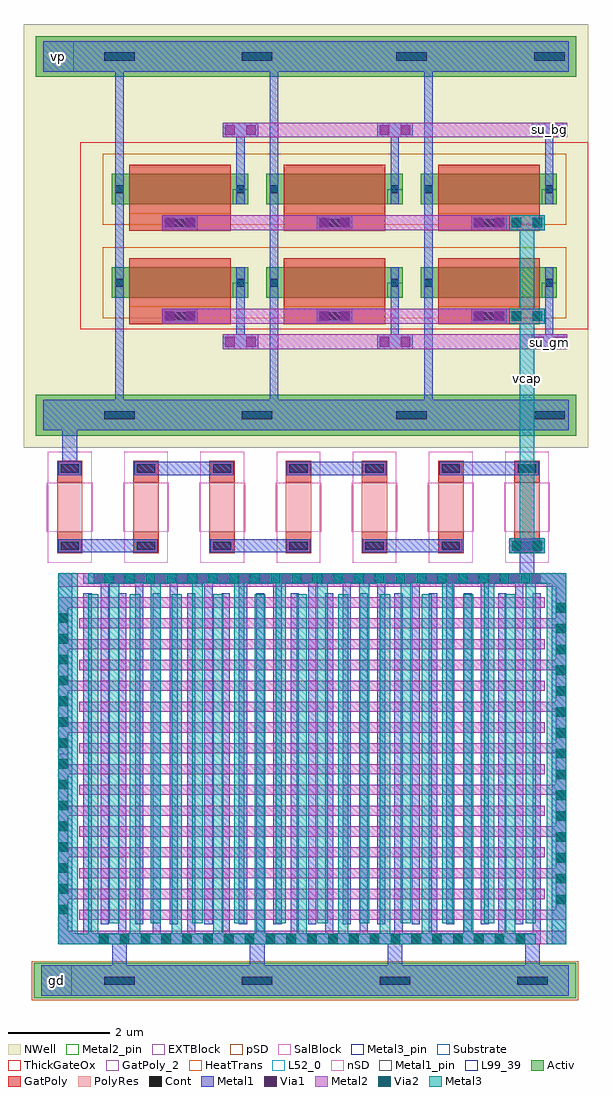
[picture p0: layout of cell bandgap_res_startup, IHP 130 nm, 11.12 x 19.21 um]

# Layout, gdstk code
import gdstk
lib = gdstk.Library(unit=1e-6, precision=1e-09)
def R(c, l, rs):  # rectangles x0, y0, x1, y1
    for r in rs: c.add(gdstk.rectangle(r[:2], r[2:], *l))
def A(c, l, x, y, w, h, nx, ny, dx, dy):  # array of equal rectangles
    R(c, l, [(x+i*dx, y+j*dy, x+i*dx+w, y+j*dy+h) for i in range(nx) for j in range(ny)])
Activ = (1, 0)
GatPoly = (5, 0)
GatPoly_2 = (5, 2)
Cont = (6, 0)
nSD = (7, 0)
Metal1 = (8, 0)
Metal1_pin = (8, 2)
Metal2 = (10, 0)
Metal2_pin = (10, 2)
pSD = (14, 0)
Via1 = (19, 0)
SalBlock = (28, 0)
Via2 = (29, 0)
Metal3 = (30, 0)
Metal3_pin = (30, 2)
NWell = (31, 0)
Substrate = (40, 0)
ThickGateOx = (44, 0)
HeatTrans = (51, 0)
L52_0 = (52, 0)
L99_39 = (99, 39)
EXTBlock = (111, 0)
PolyRes = (128, 0)

pmoshv_6 = lib.new_cell('pmosHV$6')
R(pmoshv_6, Activ, [(0,0,0.3,0.3), (0,0,2.68,0.6), (2.38,0,2.68,0.3)])
R(pmoshv_6, GatPoly, [(0.34,-0.18,2.34,0.78)])
R(pmoshv_6, GatPoly_2, [(0.34,-0.18,2.34,0.78)])
R(pmoshv_6, Cont, [(0.07,0.22,0.23,0.38), (2.45,0.22,2.61,0.38)])
R(pmoshv_6, Metal1, [(0.07,0,0.23,0.6), (2.45,0,2.61,0.6)])
R(pmoshv_6, Metal1_pin, [(0.07,0,0.23,0.6), (2.45,0,2.61,0.6)])
R(pmoshv_6, pSD, [(-0.18,-0.4,2.86,1)])
R(pmoshv_6, NWell, [(-0.62,-0.62,3.3,1.22)])
R(pmoshv_6, Substrate, [(2.38,0,2.68,0.3)])
R(pmoshv_6, ThickGateOx, [(-0.62,-0.62,3.3,1.22)])
R(pmoshv_6, HeatTrans, [(0.34,-0.18,2.34,0.78)])
pmoshv_6.add(gdstk.Label('pmosHV', (1.34,0.3), layer=63, texttype=0))
pmoshv_6.add(gdstk.Label('pmos', (1.34,0.3), layer=51, texttype=0))

via_stack_2 = lib.new_cell('via_stack$2')
R(via_stack_2, Metal2, [(-0.35,-0.145,0.35,0.145)])
R(via_stack_2, Via2, [(-0.3,-0.095,-0.11,0.095), (0.11,-0.095,0.3,0.095)])
R(via_stack_2, Metal3, [(-0.35,-0.145,0.35,0.145)])

via_stack = lib.new_cell('via_stack')
R(via_stack, Metal1, [(-0.35,-0.145,0.35,0.145)])
R(via_stack, Metal2, [(-0.35,-0.145,0.35,0.145)])
R(via_stack, Via1, [(-0.3,-0.095,-0.11,0.095), (0.11,-0.095,0.3,0.095)])

rhigh = lib.new_cell('rhigh')
A(rhigh, GatPoly, 0, -0.43, 0.5, 0.43, 7, 2, 1.5, 1.39)
A(rhigh, Cont, 0.07, -0.36, 0.36, 0.16, 7, 2, 1.5, 1.52)
A(rhigh, nSD, -0.18, -0.61, 0.86, 0.79, 7, 2, 1.5, 1.39)
R(rhigh, nSD, [(-0.18,0,0.68,0.96), (-0.18,0,0.68,0.96), (1.32,0,2.18,0.96), (1.32,0,2.18,0.96), (2.82,0,3.68,0.96), (2.82,0,3.68,0.96), (4.32,0,5.18,0.96), (4.32,0,5.18,0.96), (5.82,0,6.68,0.96), (5.82,0,6.68,0.96), (7.32,0,8.18,0.96), (7.32,0,8.18,0.96), (8.82,0,9.68,0.96), (8.82,0,9.68,0.96)])
A(rhigh, Metal1, 0.02, -0.41, 0.46, 0.26, 7, 2, 1.5, 1.52)
A(rhigh, Metal1, 1.52, -0.41, 1.96, 0.26, 3, 1, 3, 0)
A(rhigh, Metal1, 0.02, 1.11, 1.96, 0.26, 3, 1, 3, 0)
A(rhigh, Metal1_pin, 0.02, -0.41, 0.46, 0.26, 7, 2, 1.5, 1.52)
A(rhigh, pSD, -0.18, -0.61, 0.86, 0.79, 7, 2, 1.5, 1.39)
R(rhigh, pSD, [(-0.18,0,0.68,0.96), (-0.18,0,0.68,0.96), (1.32,0,2.18,0.96), (1.32,0,2.18,0.96), (2.82,0,3.68,0.96), (2.82,0,3.68,0.96), (4.32,0,5.18,0.96), (4.32,0,5.18,0.96), (5.82,0,6.68,0.96), (5.82,0,6.68,0.96), (7.32,0,8.18,0.96), (7.32,0,8.18,0.96), (8.82,0,9.68,0.96), (8.82,0,9.68,0.96)])
A(rhigh, SalBlock, -0.2, 0, 0.9, 0.96, 7, 1, 1.5, 0)
A(rhigh, L52_0, 0, 0, 0.5, 0.96, 7, 1, 1.5, 0)
A(rhigh, EXTBlock, -0.18, -0.61, 0.86, 0.79, 7, 2, 1.5, 1.39)
A(rhigh, EXTBlock, -0.2, 0, 0.9, 0.96, 7, 1, 1.5, 0)
A(rhigh, PolyRes, 0, 0, 0.5, 0.96, 7, 1, 1.5, 0)
rhigh.add(gdstk.Label('rhigh r=3158.261', (0.25,0.48), layer=63, texttype=0))
rhigh.add(gdstk.Label('rhigh r=3158.261', (0.25,0.48), layer=63, texttype=0))
rhigh.add(gdstk.Label('rhigh r=3158.261', (0.25,0.48), layer=63, texttype=0))
rhigh.add(gdstk.Label('rhigh r=3158.261', (0.25,0.48), layer=63, texttype=0))
rhigh.add(gdstk.Label('rhigh r=3158.261', (0.25,0.48), layer=63, texttype=0))
rhigh.add(gdstk.Label('rhigh r=3158.261', (0.25,0.48), layer=63, texttype=0))
rhigh.add(gdstk.Label('rhigh r=3158.261', (0.25,0.48), layer=63, texttype=0))
rhigh.add(gdstk.Label('rhigh', (0.25,0.48), layer=52, texttype=0))
rhigh.add(gdstk.Label('rhigh', (1.75,0.48), layer=52, texttype=0))
rhigh.add(gdstk.Label('rhigh', (3.25,0.48), layer=52, texttype=0))
rhigh.add(gdstk.Label('rhigh', (4.75,0.48), layer=52, texttype=0))
rhigh.add(gdstk.Label('rhigh', (6.25,0.48), layer=52, texttype=0))
rhigh.add(gdstk.Label('rhigh', (7.75,0.48), layer=52, texttype=0))
rhigh.add(gdstk.Label('rhigh', (9.25,0.48), layer=52, texttype=0))

via_stack_3 = lib.new_cell('via_stack$3')
R(via_stack_3, Metal1, [(-0.35,-0.145,0.35,0.145)])
R(via_stack_3, Metal2, [(-0.35,-0.145,0.35,0.145)])
R(via_stack_3, Via1, [(-0.3,-0.095,-0.11,0.095), (0.11,-0.095,0.3,0.095)])
R(via_stack_3, Via2, [(-0.3,-0.095,-0.11,0.095), (0.11,-0.095,0.3,0.095)])
R(via_stack_3, Metal3, [(-0.35,-0.145,0.35,0.145)])

cap_mfringe = lib.new_cell('cap_mfringe')
A(cap_mfringe, Metal1, 0.5, 0, 0.16, 6.91, 14, 1, 0.68, 0)
A(cap_mfringe, Metal1, 0.84, 0.39, 0.16, 6.91, 13, 1, 0.68, 0)
R(cap_mfringe, Metal1, [(0,0,0.28,7.3), (0,0,9.5,0.21), (9.72,0,10,7.3), (0.5,7.09,10,7.3)])
A(cap_mfringe, Metal2, 0.42, 0.475, 9.58, 0.2, 1, 8, 0, 0.82)
A(cap_mfringe, Metal2, 0, 0.885, 9.58, 0.2, 1, 8, 0, 0.82)
R(cap_mfringe, Metal2, [(0,0,10,0.265), (0,0,0.205,6.825), (9.795,0.475,10,7.3), (0,7.035,10,7.3)])
A(cap_mfringe, Via1, 0.805, 0.01, 0.19, 0.19, 21, 1, 0.41, 0)
A(cap_mfringe, Via1, 0.01, 0.585, 0.19, 0.19, 1, 15, 0, 0.41)
A(cap_mfringe, Via1, 9.8, 0.785, 0.19, 0.19, 1, 15, 0, 0.41)
A(cap_mfringe, Via1, 0.7, 7.1, 0.19, 0.19, 22, 1, 0.41, 0)
A(cap_mfringe, Via2, 0.805, 0.005, 0.19, 0.19, 21, 1, 0.41, 0)
A(cap_mfringe, Via2, 0.005, 0.585, 0.19, 0.19, 1, 15, 0, 0.41)
A(cap_mfringe, Via2, 9.805, 0.785, 0.19, 0.19, 1, 15, 0, 0.41)
A(cap_mfringe, Via2, 0.905, 7.105, 0.19, 0.19, 21, 1, 0.41, 0)
A(cap_mfringe, Metal3, 0.595, 0, 0.2, 6.89, 11, 1, 0.82, 0)
A(cap_mfringe, Metal3, 1.005, 0.41, 0.2, 6.89, 11, 1, 0.82, 0)
R(cap_mfringe, Metal3, [(0,0,0.385,7.3), (0,0,9.405,0.2), (9.615,0,10,7.3), (0.595,7.1,10,7.3)])
R(cap_mfringe, Metal3_pin, [(0,3.55,0.2,3.75), (4.9,7.1,5.1,7.3)])
R(cap_mfringe, L99_39, [(0,0,10,7.3)])
cap_mfringe.add(gdstk.Label('cap_mfringe C=129.210fF', (0,-0.5), layer=63, texttype=0))

bandgap_res_startup = lib.new_cell('bandgap_res_startup')
A(bandgap_res_startup, Cont, 1.59, 0.29, 0.6, 0.16, 4, 1, 2.71, 0)
A(bandgap_res_startup, Cont, 2.78, 13.37, 0.6, 0.16, 3, 2, 3.04, 1.84)
R(bandgap_res_startup, Cont, [(1.59,11.42,2.19,11.58), (1.59,11.42,2.19,11.58), (4.3,11.42,4.9,11.58), (4.3,11.42,4.9,11.58), (7.34,11.42,7.94,11.58), (7.34,11.42,7.94,11.58), (10.05,11.42,10.65,11.58), (10.05,11.42,10.65,11.58), (8.86,13.37,9.46,13.53), (1.59,18.48,2.19,18.64), (1.59,18.48,2.19,18.64), (4.3,18.48,4.9,18.64), (4.3,18.48,4.9,18.64), (7.34,18.48,7.94,18.64), (7.34,18.48,7.94,18.64), (10.05,18.48,10.65,18.64), (10.05,18.48,10.65,18.64)])
R(bandgap_res_startup, Metal1_pin, [(0.35,0.07,0.95,0.67), (0.39,18.26,0.99,18.86)])
R(bandgap_res_startup, Metal2_pin, [(10,12.8,10.7,13.09), (10,16.97,10.7,17.26)])
R(bandgap_res_startup, NWell, [(0,10.86,1.12,19.2), (1.12,10.86,11.12,13.19), (1.12,10.86,11.12,13.19), (1.12,16.87,11.12,19.2), (1.12,16.87,11.12,19.2)])
bandgap_res_startup.add(gdstk.FlexPath([(1.89,18.86),(1.89,11.2)], 0.16, ends="flush", simple_path=True, layer=8, datatype=0))  # Metal1
bandgap_res_startup.add(gdstk.FlexPath([(4.93,18.86),(4.93,11.2)], 0.16, ends="flush", simple_path=True, layer=8, datatype=0))  # Metal1
bandgap_res_startup.add(gdstk.FlexPath([(7.97,11.2),(7.97,18.86)], 0.16, ends="flush", simple_path=True, layer=8, datatype=0))  # Metal1
bandgap_res_startup.add(gdstk.FlexPath([(10.35,15.65),(10.35,17.26)], 0.16, ends="flush", simple_path=True, layer=8, datatype=0))  # Metal1
bandgap_res_startup.add(gdstk.FlexPath([(10.35,14.41),(10.35,12.8)], 0.16, ends="flush", simple_path=True, layer=8, datatype=0))  # Metal1
bandgap_res_startup.add(gdstk.FlexPath([(7.31,15.65),(7.31,17.26)], 0.16, ends="flush", simple_path=True, layer=8, datatype=0))  # Metal1
bandgap_res_startup.add(gdstk.FlexPath([(4.27,15.65),(4.27,17.26)], 0.16, ends="flush", simple_path=True, layer=8, datatype=0))  # Metal1
bandgap_res_startup.add(gdstk.FlexPath([(7.31,14.41),(7.31,12.8)], 0.16, ends="flush", simple_path=True, layer=8, datatype=0))  # Metal1
bandgap_res_startup.add(gdstk.FlexPath([(4.27,14.41),(4.27,12.8)], 0.16, ends="flush", simple_path=True, layer=8, datatype=0))  # Metal1
bandgap_res_startup.add(gdstk.FlexPath([(0.91,10.32),(0.91,11.8)], 0.29, ends="flush", simple_path=True, layer=8, datatype=0))  # Metal1
bandgap_res_startup.add(gdstk.FlexPath([(9.91,9.075),(9.91,8.18)], 0.29, ends="flush", simple_path=True, layer=8, datatype=0))  # Metal1
bandgap_res_startup.add(gdstk.FlexPath([(10.73,0.37),(0.35,0.37)], 0.6, ends="flush", simple_path=True, layer=8, datatype=0))  # Metal1
bandgap_res_startup.add(gdstk.FlexPath([(1.89,0.07),(1.89,1.3)], 0.29, ends="flush", simple_path=True, layer=8, datatype=0))  # Metal1
bandgap_res_startup.add(gdstk.FlexPath([(4.6,0.07),(4.6,1.3)], 0.29, ends="flush", simple_path=True, layer=8, datatype=0))  # Metal1
bandgap_res_startup.add(gdstk.FlexPath([(7.31,0.07),(7.31,1.3)], 0.29, ends="flush", simple_path=True, layer=8, datatype=0))  # Metal1
bandgap_res_startup.add(gdstk.FlexPath([(10.02,0.07),(10.02,1.3)], 0.29, ends="flush", simple_path=True, layer=8, datatype=0))  # Metal1
bandgap_res_startup.add(gdstk.FlexPath([(0.39,18.56),(10.73,18.56)], 0.6, ends="flush", simple_path=True, layer=8, datatype=0))  # Metal1
bandgap_res_startup.add(gdstk.FlexPath([(0.39,11.5),(10.73,11.5)], 0.6, ends="flush", simple_path=True, layer=8, datatype=0))  # Metal1
bandgap_res_startup.add(gdstk.FlexPath([(10.88,0.37),(0.2,0.37)], 0.7, ends="flush", simple_path=True, layer=1, datatype=0))  # Activ
bandgap_res_startup.add(gdstk.FlexPath([(0.24,18.56),(10.88,18.56)], 0.8, ends="flush", simple_path=True, layer=1, datatype=0))  # Activ
bandgap_res_startup.add(gdstk.FlexPath([(0.24,11.5),(10.88,11.5)], 0.8, ends="flush", simple_path=True, layer=1, datatype=0))  # Activ
bandgap_res_startup.add(gdstk.FlexPath([(3.08,16.43),(3.08,15.13)], 2, ends="flush", simple_path=True, layer=5, datatype=0))  # GatPoly
bandgap_res_startup.add(gdstk.FlexPath([(6.12,16.43),(6.12,15.13)], 2, ends="flush", simple_path=True, layer=5, datatype=0))  # GatPoly
bandgap_res_startup.add(gdstk.FlexPath([(9.16,16.43),(9.16,15.13)], 2, ends="flush", simple_path=True, layer=5, datatype=0))  # GatPoly
bandgap_res_startup.add(gdstk.FlexPath([(3.08,14.59),(3.08,13.29)], 2, ends="flush", simple_path=True, layer=5, datatype=0))  # GatPoly
bandgap_res_startup.add(gdstk.FlexPath([(6.12,14.59),(6.12,13.29)], 2, ends="flush", simple_path=True, layer=5, datatype=0))  # GatPoly
bandgap_res_startup.add(gdstk.FlexPath([(9.16,14.59),(9.16,13.29)], 2, ends="flush", simple_path=True, layer=5, datatype=0))  # GatPoly
bandgap_res_startup.add(gdstk.FlexPath([(10.92,0.37),(0.16,0.37)], 0.76, ends="flush", simple_path=True, layer=14, datatype=0))  # pSD
bandgap_res_startup.add(gdstk.FlexPath([(3.92,12.945),(10.7,12.945)], 0.29, ends="flush", simple_path=True, layer=10, datatype=0))  # Metal2
bandgap_res_startup.add(gdstk.FlexPath([(10.7,17.115),(3.92,17.115)], 0.29, ends="flush", simple_path=True, layer=10, datatype=0))  # Metal2
bandgap_res_startup.add(gdstk.FlexPath([(10.26,13.45),(2.73,13.45)], 0.29, ends="flush", simple_path=True, layer=10, datatype=0))  # Metal2
bandgap_res_startup.add(gdstk.FlexPath([(10.26,15.29),(2.73,15.29)], 0.29, ends="flush", simple_path=True, layer=10, datatype=0))  # Metal2
bandgap_res_startup.add(gdstk.FlexPath([(9.91,15.435),(9.91,8.785)], 0.29, ends="flush", simple_path=True, layer=30, datatype=0))  # Metal3
bandgap_res_startup.add(gdstk.Reference(pmoshv_6, (1.74,15.65)))
bandgap_res_startup.add(gdstk.Reference(pmoshv_6, (4.78,15.65)))
bandgap_res_startup.add(gdstk.Reference(pmoshv_6, (7.82,15.65)))
bandgap_res_startup.add(gdstk.Reference(via_stack_2, (9.91,15.29)))
bandgap_res_startup.add(gdstk.Reference(pmoshv_6, (1.74,13.81)))
bandgap_res_startup.add(gdstk.Reference(pmoshv_6, (4.78,13.81)))
bandgap_res_startup.add(gdstk.Reference(pmoshv_6, (7.82,13.81)))
bandgap_res_startup.add(gdstk.Reference(via_stack, (10.35,12.945)))
bandgap_res_startup.add(gdstk.Reference(via_stack_2, (9.91,13.45)))
bandgap_res_startup.add(gdstk.Reference(via_stack, (10.35,17.115)))
bandgap_res_startup.add(gdstk.Reference(rhigh, (0.66,10.17), x_reflection=True))
bandgap_res_startup.add(gdstk.Reference(via_stack, (6.12,15.29)))
bandgap_res_startup.add(gdstk.Reference(via_stack, (3.08,15.29)))
bandgap_res_startup.add(gdstk.Reference(via_stack, (3.08,13.45)))
bandgap_res_startup.add(gdstk.Reference(via_stack, (6.12,13.45)))
bandgap_res_startup.add(gdstk.Reference(via_stack, (7.31,17.115)))
bandgap_res_startup.add(gdstk.Reference(via_stack, (4.27,17.115)))
bandgap_res_startup.add(gdstk.Reference(via_stack, (7.31,12.945)))
bandgap_res_startup.add(gdstk.Reference(via_stack, (4.27,12.945)))
bandgap_res_startup.add(gdstk.Reference(via_stack_3, (9.91,8.93)))
bandgap_res_startup.add(gdstk.Reference(via_stack, (9.16,13.45)))
bandgap_res_startup.add(gdstk.Reference(via_stack, (9.16,15.29)))
bandgap_res_startup.add(gdstk.Reference(cap_mfringe, (0.68,1.09)))
bandgap_res_startup.add(gdstk.Label('su_bg', (10.35,17.115), layer=10, texttype=25))
bandgap_res_startup.add(gdstk.Label('su_gm', (10.35,12.935), layer=10, texttype=25))
bandgap_res_startup.add(gdstk.Label('gd', (0.65,0.37), layer=8, texttype=25))
bandgap_res_startup.add(gdstk.Label('vp', (0.69,18.56), layer=8, texttype=25))
bandgap_res_startup.add(gdstk.Label('vcap', (9.91,12.23), layer=30, texttype=25))

lib.write_gds('bandgap_res_startup.gds')
